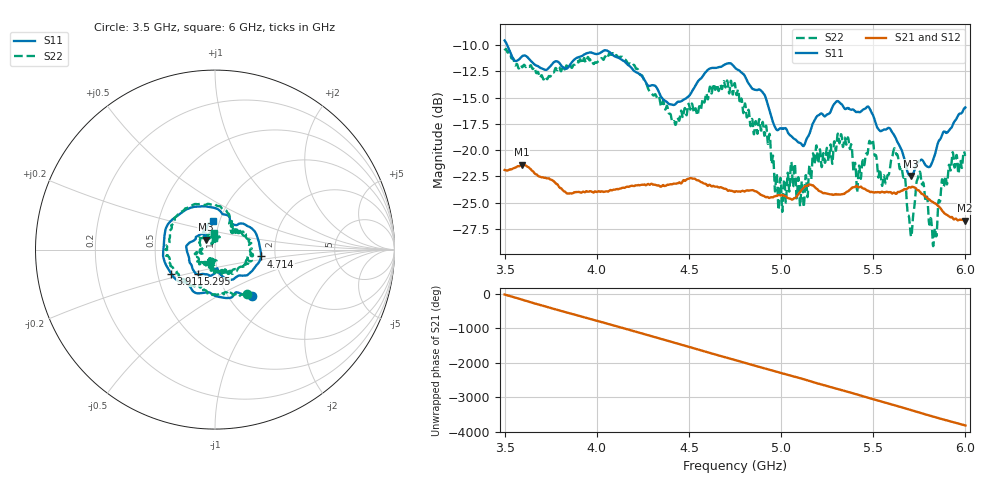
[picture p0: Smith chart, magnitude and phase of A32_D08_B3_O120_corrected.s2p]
! Created with skrf 1.9.0 (http://scikit-rf.org).
# Hz S RI R 50.0
!freq ReS11 ImS11 ReS21 ImS21 ReS12 ImS12 ReS22 ImS22
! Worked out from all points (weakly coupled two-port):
!   1601 points, 3.5 GHz to 6 GHz, reference 50 ohm
!   highest |S21| = -21.39 dB at 3.592 GHz (marker M1); lowest = -26.7 dB at 5.998 GHz (marker M2)
!   lowest |S11| = -22.5 dB at 5.705 GHz (marker M3), VSWR 1.16, Z = 44.9 + j5.08 ohm
!   |S11| at or under -10 dB: 3.514 GHz to end of sweep
!   |S22| runs from -29.1 to -10.4 dB; largest |S21 - S12| = 0.001
!   S11 on the Smith chart (normalised r, x): 3.5 GHz: 1.28, -0.75; 3.911 GHz: 0.59, -0.17; 4.714 GHz: 1.68, -0.14; 5.295 GHz: 0.80, -0.23; 6 GHz: 0.93, +0.30
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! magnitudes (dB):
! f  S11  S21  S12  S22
! 3.5 GHz  -9.6  -21.9  -21.9  -10.4
! 3.592 GHz  -11.1  -21.4  -21.4  -12.0
! 3.911 GHz  -11.1  -24.0  -24.0  -11.4
! 3.917 GHz  -11.1  -24.0  -24.0  -11.7
! 4.138 GHz  -11.4  -23.6  -23.6  -11.1
! 4.334 GHz  -14.4  -23.3  -23.3  -15.0
! 4.42 GHz  -15.7  -23.2  -23.2  -17.3
! 4.714 GHz  -11.7  -23.9  -23.9  -14.1
! 4.75 GHz  -12.2  -24.0  -23.9  -13.7
! 4.928 GHz  -15.7  -24.5  -24.4  -19.4
! 4.995 GHz  -17.9  -24.3  -24.3  -22.7
! 5.167 GHz  -17.7  -23.3  -23.3  -21.8
! 5.295 GHz  -15.5  -24.2  -24.2  -19.9
! 5.42 GHz  -16.4  -23.5  -23.5  -21.8
! 5.584 GHz  -17.9  -24.0  -24.0  -22.3
! 5.625 GHz  -19.0  -24.1  -24.1  -20.4
! 5.705 GHz  -22.5  -23.6  -23.5  -28.2
! 5.748 GHz  -21.0  -23.9  -23.9  -22.2
! 5.833 GHz  -20.5  -25.1  -25.0  -27.6
! 5.881 GHz  -18.2  -25.9  -25.9  -23.5
! 5.998 GHz  -16.0  -26.7  -26.6  -20.5
! 6 GHz  -15.9  -26.7  -26.6  -20.4
